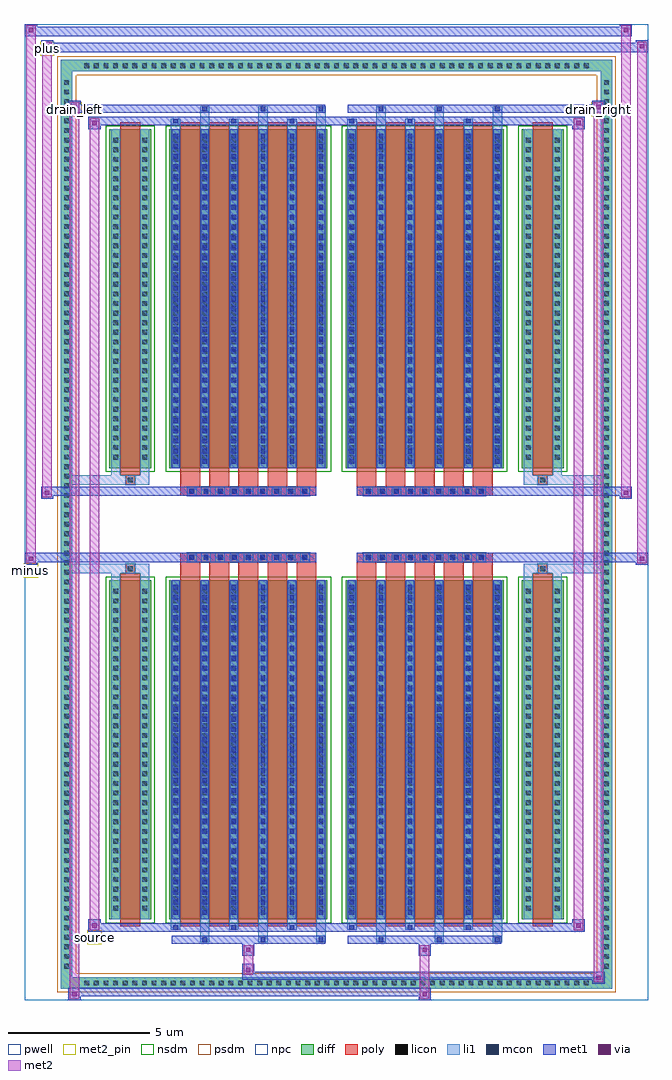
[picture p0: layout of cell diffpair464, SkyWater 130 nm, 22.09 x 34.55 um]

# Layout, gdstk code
import gdstk
lib = gdstk.Library(unit=1e-6, precision=5e-09)
def R(c, l, rs):  # rectangles x0, y0, x1, y1
    for r in rs: c.add(gdstk.rectangle(r[:2], r[2:], *l))
def A(c, l, x, y, w, h, nx, ny, dx, dy):  # array of equal rectangles
    R(c, l, [(x+i*dx, y+j*dy, x+i*dx+w, y+j*dy+h) for i in range(nx) for j in range(ny)])
def P(c, l, *ps):  # polygons
    for p in ps: c.add(gdstk.Polygon(p, *l))
pwell = (64, 44)
diff = (65, 20)
poly = (66, 20)
licon = (66, 44)
li1 = (67, 20)
mcon = (67, 44)
met1 = (68, 20)
via = (68, 44)
met2_pin = (69, 16)
met2 = (69, 20)
nsdm = (93, 44)
psdm = (94, 20)
npc = (95, 20)

diffpair464 = lib.new_cell('diffpair464')
R(diffpair464, pwell, [(-11.03,-16.84,11.03,17.71), (-8.35,-15.03,-0.01,-0.805), (0.01,-15.03,8.35,-0.805), (-8.35,0.805,-0.01,15.03), (0.01,0.805,8.35,15.03)])
A(diffpair464, diff, -9.045, -16.44, 0.41, 0.41, 53, 2, 0.34, 32.47)
A(diffpair464, diff, -9.76, -15.845, 0.41, 0.41, 1, 93, 0, 0.34)
A(diffpair464, diff, 9.35, -15.845, 0.41, 0.41, 1, 93, 0, 0.34)
R(diffpair464, diff, [(-9.045,-16.44,9.045,-16.03), (-9.76,-15.845,-9.35,15.845), (9.35,-15.845,9.76,15.845), (-8.04,-13.985,-6.56,-1.985), (-5.92,-13.985,-0.32,-1.985), (0.32,-13.985,5.92,-1.985), (6.56,-13.985,8.04,-1.985), (-8.04,1.985,-6.56,13.985), (-5.92,1.985,-0.32,13.985), (0.32,1.985,5.92,13.985), (6.56,1.985,8.04,13.985), (-9.045,16.03,9.045,16.44)])
P(diffpair464, diff, [(9.76,16.44),(-9.76,16.44),(-9.76,-16.03),(-9.35,-16.03),(-9.35,16.03),(9.35,16.03),(9.35,-16.03),(-9.35,-16.03),(-9.76,-16.03),(-9.76,-16.44),(9.76,-16.44)])
A(diffpair464, poly, -5.53, -14.235, 0.7, 12.5, 5, 2, 1.03, 15.97)
A(diffpair464, poly, 0.71, -14.235, 0.7, 12.5, 5, 2, 1.03, 15.97)
A(diffpair464, poly, -5.53, -1.735, 0.7, 0.4, 5, 2, 1.03, 3.07)
A(diffpair464, poly, 0.71, -1.735, 0.7, 0.4, 5, 2, 1.03, 3.07)
A(diffpair464, poly, -5.285, -1.335, 0.33, 0.33, 9, 2, 0.5, 2.34)
A(diffpair464, poly, 0.955, -1.335, 0.33, 0.33, 9, 2, 0.5, 2.34)
R(diffpair464, poly, [(-7.65,-14.235,-6.95,-1.735), (6.95,-14.235,7.65,-1.735), (-7.465,-1.735,-7.135,-1.405), (-7.465,-1.735,-7.135,-1.405), (7.135,-1.735,7.465,-1.405), (7.135,-1.735,7.465,-1.405), (-5.53,-1.335,-0.71,-1.005), (0.71,-1.335,5.53,-1.005), (-5.53,1.005,-0.71,1.335), (0.71,1.005,5.53,1.335), (-7.465,1.405,-7.135,1.735), (-7.465,1.405,-7.135,1.735), (7.135,1.405,7.465,1.735), (7.135,1.405,7.465,1.735), (-7.65,1.735,-6.95,14.235), (6.95,1.735,7.65,14.235)])
A(diffpair464, licon, -8.925, -16.32, 0.17, 0.17, 53, 2, 0.34, 32.47)
A(diffpair464, licon, -9.64, -15.725, 0.17, 0.17, 1, 93, 0, 0.34)
A(diffpair464, licon, 9.47, -15.725, 0.17, 0.17, 1, 93, 0, 0.34)
A(diffpair464, licon, -7.9, -13.68, 0.17, 0.17, 1, 34, 0, 0.34)
A(diffpair464, licon, -6.87, -13.68, 0.17, 0.17, 1, 34, 0, 0.34)
A(diffpair464, licon, -5.78, -13.68, 0.17, 0.17, 6, 34, 1.03, 0.34)
A(diffpair464, licon, 0.46, -13.68, 0.17, 0.17, 6, 34, 1.03, 0.34)
A(diffpair464, licon, 6.7, -13.68, 0.17, 0.17, 1, 34, 0, 0.34)
A(diffpair464, licon, 7.73, -13.68, 0.17, 0.17, 1, 34, 0, 0.34)
A(diffpair464, licon, -5.205, -1.255, 0.17, 0.17, 9, 2, 0.5, 2.34)
A(diffpair464, licon, 1.035, -1.255, 0.17, 0.17, 9, 2, 0.5, 2.34)
A(diffpair464, licon, -7.9, 2.29, 0.17, 0.17, 1, 34, 0, 0.34)
A(diffpair464, licon, -6.87, 2.29, 0.17, 0.17, 1, 34, 0, 0.34)
A(diffpair464, licon, -5.78, 2.29, 0.17, 0.17, 6, 34, 1.03, 0.34)
A(diffpair464, licon, 0.46, 2.29, 0.17, 0.17, 6, 34, 1.03, 0.34)
A(diffpair464, licon, 6.7, 2.29, 0.17, 0.17, 1, 34, 0, 0.34)
A(diffpair464, licon, 7.73, 2.29, 0.17, 0.17, 1, 34, 0, 0.34)
R(diffpair464, licon, [(-7.385,-1.655,-7.215,-1.485), (7.215,-1.655,7.385,-1.485), (-7.385,1.485,-7.215,1.655), (7.215,1.485,7.385,1.655)])
A(diffpair464, li1, -9.005, -16.4, 0.33, 0.33, 53, 2, 0.34, 32.47)
A(diffpair464, li1, -9.72, -15.805, 0.33, 0.33, 1, 93, 0, 0.34)
A(diffpair464, li1, 9.39, -15.805, 0.33, 0.33, 1, 93, 0, 0.34)
A(diffpair464, li1, -4.83, -14.79, 0.33, 0.805, 3, 2, 2.06, 28.775)
A(diffpair464, li1, -4.75, -14.79, 0.17, 0.17, 3, 2, 2.06, 29.41)
A(diffpair464, li1, 1.41, -14.79, 0.33, 0.805, 3, 2, 2.06, 28.775)
A(diffpair464, li1, 1.49, -14.79, 0.17, 0.17, 3, 2, 2.06, 29.41)
A(diffpair464, li1, -5.86, -14.36, 0.33, 0.375, 3, 2, 2.06, 28.345)
A(diffpair464, li1, -5.78, -14.36, 0.17, 0.17, 3, 2, 2.06, 28.55)
A(diffpair464, li1, 0.38, -14.36, 0.33, 0.375, 3, 2, 2.06, 28.345)
A(diffpair464, li1, 0.46, -14.36, 0.17, 0.17, 3, 2, 2.06, 28.55)
A(diffpair464, li1, -5.86, -13.985, 0.33, 12, 6, 2, 1.03, 15.97)
A(diffpair464, li1, 0.38, -13.985, 0.33, 12, 6, 2, 1.03, 15.97)
A(diffpair464, li1, -5.78, -13.83, 0.17, 0.17, 6, 33, 1.03, 0.36)
A(diffpair464, li1, -5.78, -13.83, 0.17, 11.69, 6, 2, 1.03, 15.97)
A(diffpair464, li1, 0.46, -13.83, 0.17, 0.17, 6, 33, 1.03, 0.36)
A(diffpair464, li1, 0.46, -13.83, 0.17, 11.69, 6, 2, 1.03, 15.97)
A(diffpair464, li1, -7.98, -13.76, 0.33, 0.33, 1, 34, 0, 0.34)
A(diffpair464, li1, -6.95, -13.76, 0.33, 0.33, 1, 34, 0, 0.34)
A(diffpair464, li1, -5.86, -13.76, 0.33, 0.33, 6, 34, 1.03, 0.34)
A(diffpair464, li1, 0.38, -13.76, 0.33, 0.33, 6, 34, 1.03, 0.34)
A(diffpair464, li1, 6.62, -13.76, 0.33, 0.33, 1, 34, 0, 0.34)
A(diffpair464, li1, 7.65, -13.76, 0.33, 0.33, 1, 34, 0, 0.34)
A(diffpair464, li1, -5.285, -1.335, 0.33, 0.33, 9, 2, 0.5, 2.34)
A(diffpair464, li1, 0.955, -1.335, 0.33, 0.33, 9, 2, 0.5, 2.34)
A(diffpair464, li1, -5.78, 2.14, 0.17, 0.17, 6, 33, 1.03, 0.36)
A(diffpair464, li1, 0.46, 2.14, 0.17, 0.17, 6, 33, 1.03, 0.36)
A(diffpair464, li1, -7.98, 2.21, 0.33, 0.33, 1, 34, 0, 0.34)
A(diffpair464, li1, -6.95, 2.21, 0.33, 0.33, 1, 34, 0, 0.34)
A(diffpair464, li1, -5.86, 2.21, 0.33, 0.33, 6, 34, 1.03, 0.34)
A(diffpair464, li1, 0.38, 2.21, 0.33, 0.33, 6, 34, 1.03, 0.34)
A(diffpair464, li1, 6.62, 2.21, 0.33, 0.33, 1, 34, 0, 0.34)
A(diffpair464, li1, 7.65, 2.21, 0.33, 0.33, 1, 34, 0, 0.34)
R(diffpair464, li1, [(-9.76,-16.44,-9.35,-16.03), (-9.76,-16.44,-9.35,-16.03), (-9.35,-16.44,9.35,-16.03), (9.35,-16.44,9.76,-16.03), (9.35,-16.44,9.76,-16.03), (-9.76,-16.03,-9.35,16.03), (9.35,-16.03,9.76,16.03), (-7.98,-13.985,-7.65,-1.985), (-6.95,-13.985,-6.62,-1.985), (6.62,-13.985,6.95,-1.985), (7.65,-13.985,7.98,-1.985), (-7.98,-1.985,-7.65,-1.405), (-6.95,-1.985,-6.62,-1.405), (6.62,-1.985,6.95,-1.405), (7.65,-1.985,7.98,-1.405), (-9.76,-1.735,-7.465,-1.405), (-7.98,-1.735,-7.465,-1.405), (-7.465,-1.735,-7.135,-1.405), (-7.135,-1.735,-6.62,-1.405), (6.62,-1.735,7.135,-1.405), (7.135,-1.735,7.465,-1.405), (7.135,-1.735,9.76,-1.405), (7.465,-1.735,7.98,-1.405), (-9.76,1.405,-7.465,1.735), (-7.98,1.405,-7.465,1.735), (-7.98,1.405,-7.65,1.985), (-7.465,1.405,-7.135,1.735), (-7.135,1.405,-6.62,1.735), (-6.95,1.405,-6.62,1.985), (6.62,1.405,7.135,1.735), (6.62,1.405,6.95,1.985), (7.135,1.405,7.465,1.735), (7.135,1.405,9.76,1.735), (7.465,1.405,7.98,1.735), (7.65,1.405,7.98,1.985), (-7.98,1.985,-7.65,13.985), (-6.95,1.985,-6.62,13.985), (6.62,1.985,6.95,13.985), (7.65,1.985,7.98,13.985), (-9.76,16.03,-9.35,16.44), (-9.76,16.03,-9.35,16.44), (-9.35,16.03,9.35,16.44), (9.35,16.03,9.76,16.44), (9.35,16.03,9.76,16.44)])
A(diffpair464, mcon, -4.75, -14.79, 0.17, 0.17, 3, 2, 2.06, 29.41)
A(diffpair464, mcon, 1.49, -14.79, 0.17, 0.17, 3, 2, 2.06, 29.41)
A(diffpair464, mcon, -5.78, -14.36, 0.17, 0.17, 3, 2, 2.06, 28.55)
A(diffpair464, mcon, 0.46, -14.36, 0.17, 0.17, 3, 2, 2.06, 28.55)
A(diffpair464, mcon, -5.78, -13.83, 0.17, 0.17, 6, 33, 1.03, 0.36)
A(diffpair464, mcon, 0.46, -13.83, 0.17, 0.17, 6, 33, 1.03, 0.36)
A(diffpair464, mcon, -5.205, -1.255, 0.17, 0.17, 9, 2, 0.5, 2.34)
A(diffpair464, mcon, 1.035, -1.255, 0.17, 0.17, 9, 2, 0.5, 2.34)
A(diffpair464, mcon, -5.78, 2.14, 0.17, 0.17, 6, 33, 1.03, 0.36)
A(diffpair464, mcon, 0.46, 2.14, 0.17, 0.17, 6, 33, 1.03, 0.36)
A(diffpair464, met1, -4.81, -14.85, 0.29, 0.29, 3, 2, 2.06, 29.41)
A(diffpair464, met1, 1.43, -14.85, 0.29, 0.29, 3, 2, 2.06, 29.41)
A(diffpair464, met1, -5.84, -14.42, 0.29, 0.29, 3, 2, 2.06, 28.55)
A(diffpair464, met1, 0.4, -14.42, 0.29, 0.29, 3, 2, 2.06, 28.55)
A(diffpair464, met1, -5.84, -13.985, 0.29, 12, 6, 2, 1.03, 15.97)
A(diffpair464, met1, 0.4, -13.985, 0.29, 12, 6, 2, 1.03, 15.97)
A(diffpair464, met1, -5.84, -13.89, 0.29, 0.29, 6, 33, 1.03, 0.36)
A(diffpair464, met1, 0.4, -13.89, 0.29, 0.29, 6, 33, 1.03, 0.36)
A(diffpair464, met1, -5.265, -1.315, 0.29, 0.29, 9, 2, 0.5, 2.34)
A(diffpair464, met1, 0.975, -1.315, 0.29, 0.29, 9, 2, 0.5, 2.34)
A(diffpair464, met1, -5.84, 2.08, 0.29, 0.29, 6, 33, 1.03, 0.36)
A(diffpair464, met1, 0.4, 2.08, 0.29, 0.29, 6, 33, 1.03, 0.36)
R(diffpair464, met1, [(-9.49,-16.84,-9.06,-16.41), (2.905,-16.84,3.335,-16.41), (-9.49,-16.7,3.335,-16.41), (9.06,-16.27,9.49,-15.84), (-3.335,-16.13,9.49,-15.84), (-3.335,-15.99,-2.905,-15.56), (-3.335,-15.28,-2.905,-14.85), (2.905,-15.28,3.335,-14.85), (-5.84,-14.85,-0.4,-14.56), (0.4,-14.85,5.84,-14.56), (-8.78,-14.42,-8.35,-13.99), (-8.78,-14.42,-5.84,-14.13), (-5.84,-14.42,-0.4,-14.13), (-0.4,-14.42,0.4,-14.13), (0.4,-14.42,5.84,-14.13), (5.84,-14.42,8.78,-14.13), (8.35,-14.42,8.78,-13.99), (-11.03,-1.435,-10.6,-1.005), (10.6,-1.435,11.03,-1.005), (-11.03,-1.335,-0.71,-1.005), (-5.53,-1.335,-0.71,-1.005), (0.71,-1.335,5.53,-1.005), (0.71,-1.335,11.03,-1.005), (-10.46,0.905,-10.03,1.335), (10.03,0.905,10.46,1.335), (-10.46,1.005,-5.53,1.335), (-5.53,1.005,-0.71,1.335), (0.71,1.005,5.53,1.335), (5.53,1.005,10.46,1.335), (-8.78,13.99,-8.35,14.42), (8.35,13.99,8.78,14.42), (-8.78,14.13,-5.84,14.42), (-5.84,14.13,-0.4,14.42), (-0.4,14.13,0.4,14.42), (0.4,14.13,5.84,14.42), (5.84,14.13,8.78,14.42), (-9.49,14.56,-9.06,14.99), (-9.49,14.56,-5.84,14.85), (-5.84,14.56,-0.4,14.85), (0.4,14.56,5.84,14.85), (5.84,14.56,9.49,14.85), (9.06,14.56,9.49,14.99), (-10.46,16.71,-10.03,17.14), (-10.46,16.71,-8.35,17.04), (-8.35,16.71,8.35,17.04), (8.35,16.71,11.03,17.04), (10.6,16.71,11.03,17.14), (-11.03,17.28,-10.6,17.71), (-11.03,17.28,-8.35,17.61), (-8.35,17.28,8.35,17.61), (8.35,17.28,10.46,17.61), (10.03,17.28,10.46,17.71)])
R(diffpair464, via, [(-9.35,-16.7,-9.2,-16.55), (3.045,-16.7,3.195,-16.55), (9.2,-16.13,9.35,-15.98), (-3.195,-15.85,-3.045,-15.7), (-3.195,-15.14,-3.045,-14.99), (3.045,-15.14,3.195,-14.99), (-8.64,-14.28,-8.49,-14.13), (8.49,-14.28,8.64,-14.13), (-10.89,-1.295,-10.74,-1.145), (10.74,-1.295,10.89,-1.145), (-10.32,1.045,-10.17,1.195), (10.17,1.045,10.32,1.195), (-8.64,14.13,-8.49,14.28), (8.49,14.13,8.64,14.28), (-9.35,14.7,-9.2,14.85), (9.2,14.7,9.35,14.85), (-10.32,16.85,-10.17,17), (10.74,16.85,10.89,17), (-10.89,17.42,-10.74,17.57), (10.17,17.42,10.32,17.57)])
R(diffpair464, met2_pin, [(-8.815,-14.87,-8.315,-14.37), (-11.065,-1.885,-10.565,-1.385), (-9.525,14.44,-9.025,14.94), (9.025,14.44,9.525,14.94), (-10.495,16.59,-9.995,17.09)])
R(diffpair464, met2, [(-9.44,-16.79,-9.11,-16.46), (-9.44,-16.79,-9.11,14.94), (2.955,-16.79,3.285,-16.46), (2.955,-16.46,3.285,-15.23), (9.11,-16.22,9.44,-15.89), (9.11,-16.22,9.44,14.94), (-3.285,-15.94,-2.955,-15.61), (-3.285,-15.61,-2.955,-15.23), (-3.285,-15.23,-2.955,-14.9), (2.955,-15.23,3.285,-14.9), (-8.73,-14.37,-8.4,-14.04), (-8.73,-14.37,-8.4,14.37), (8.4,-14.37,8.73,-14.04), (8.4,-14.37,8.73,14.37), (-10.98,-1.385,-10.65,-1.055), (-10.98,-1.385,-10.65,17.66), (10.65,-1.385,10.98,-1.055), (10.65,-1.385,10.98,17.09), (-10.41,0.955,-10.08,1.285), (-10.41,0.955,-10.08,17.09), (10.08,0.955,10.41,1.285), (10.08,0.955,10.41,17.66), (-8.73,14.04,-8.4,14.37), (8.4,14.04,8.73,14.37), (-9.44,14.61,-9.11,14.94), (9.11,14.61,9.44,14.94), (-10.41,16.76,-10.08,17.09), (10.65,16.76,10.98,17.09), (-10.98,17.33,-10.65,17.66), (10.08,17.33,10.41,17.66)])
P(diffpair464, met2, [(10.98,-1.385),(10.98,-1.385),(10.98,-1.055),(10.98,-1.055)],
  [(10.98,16.76),(10.98,16.76),(10.98,17.09),(10.98,17.09)],
  [(-10.65,-1.385),(-10.65,-1.385),(-10.65,-1.055),(-10.65,-1.055)],
  [(-10.65,17.33),(-10.65,17.33),(-10.65,17.66),(-10.65,17.66)],
  [(10.41,0.955),(10.41,0.955),(10.41,1.285),(10.41,1.285)],
  [(10.41,17.33),(10.41,17.33),(10.41,17.66),(10.41,17.66)],
  [(-10.08,0.955),(-10.08,0.955),(-10.08,1.285),(-10.08,1.285)],
  [(-10.08,16.76),(-10.08,16.76),(-10.08,17.09),(-10.08,17.09)],
  [(-9.11,-16.79),(-9.11,-16.79),(-9.11,-16.46),(-9.11,-16.46)],
  [(-9.11,14.61),(-9.11,14.61),(-9.11,14.94),(-9.11,14.94)],
  [(9.44,-16.22),(9.44,-16.22),(9.44,-15.89),(9.44,-15.89)],
  [(9.44,14.61),(9.44,14.61),(9.44,14.94),(9.44,14.94)],
  [(-8.4,-14.37),(-8.4,-14.37),(-8.4,-14.04),(-8.4,-14.04)],
  [(-8.4,14.04),(-8.4,14.04),(-8.4,14.37),(-8.4,14.37)],
  [(8.73,-14.37),(8.73,-14.37),(8.73,-14.04),(8.73,-14.04)],
  [(8.73,14.04),(8.73,14.04),(8.73,14.37),(8.73,14.37)])
R(diffpair464, nsdm, [(-8.17,-14.115,-6.43,-1.855), (-6.05,-14.115,-0.19,-1.855), (0.19,-14.115,6.05,-1.855), (6.43,-14.115,8.17,-1.855), (-8.17,1.855,-6.43,14.115), (-6.05,1.855,-0.19,14.115), (0.19,1.855,6.05,14.115), (6.43,1.855,8.17,14.115)])
P(diffpair464, psdm, [(9.89,16.57),(-9.89,16.57),(-9.89,-15.9),(-9.22,-15.9),(-9.22,15.9),(9.22,15.9),(9.22,-15.9),(-9.22,-15.9),(-9.89,-15.9),(-9.89,-16.57),(9.89,-16.57)])
A(diffpair464, npc, -5.305, -1.355, 0.37, 0.37, 9, 2, 0.5, 2.34)
A(diffpair464, npc, 0.935, -1.355, 0.37, 0.37, 9, 2, 0.5, 2.34)
R(diffpair464, npc, [(-7.485,-1.755,-7.115,-1.385), (7.115,-1.755,7.485,-1.385), (-5.305,-1.355,-4.435,-0.985), (-5.305,-1.355,-4.435,-0.985), (-4.805,-1.355,-3.935,-0.985), (-4.805,-1.355,-3.935,-0.985), (-4.305,-1.355,-3.435,-0.985), (-4.305,-1.355,-3.435,-0.985), (-3.805,-1.355,-2.935,-0.985), (-3.805,-1.355,-2.935,-0.985), (-3.305,-1.355,-2.435,-0.985), (-3.305,-1.355,-2.435,-0.985), (-2.805,-1.355,-1.935,-0.985), (-2.805,-1.355,-1.935,-0.985), (-2.305,-1.355,-1.435,-0.985), (-2.305,-1.355,-1.435,-0.985), (-1.805,-1.355,-0.935,-0.985), (-1.805,-1.355,-0.935,-0.985), (0.935,-1.355,1.805,-0.985), (0.935,-1.355,1.805,-0.985), (1.435,-1.355,2.305,-0.985), (1.435,-1.355,2.305,-0.985), (1.935,-1.355,2.805,-0.985), (1.935,-1.355,2.805,-0.985), (2.435,-1.355,3.305,-0.985), (2.435,-1.355,3.305,-0.985), (2.935,-1.355,3.805,-0.985), (2.935,-1.355,3.805,-0.985), (3.435,-1.355,4.305,-0.985), (3.435,-1.355,4.305,-0.985), (3.935,-1.355,4.805,-0.985), (3.935,-1.355,4.805,-0.985), (4.435,-1.355,5.305,-0.985), (4.435,-1.355,5.305,-0.985), (-5.305,0.985,-4.435,1.355), (-5.305,0.985,-4.435,1.355), (-4.805,0.985,-3.935,1.355), (-4.805,0.985,-3.935,1.355), (-4.305,0.985,-3.435,1.355), (-4.305,0.985,-3.435,1.355), (-3.805,0.985,-2.935,1.355), (-3.805,0.985,-2.935,1.355), (-3.305,0.985,-2.435,1.355), (-3.305,0.985,-2.435,1.355), (-2.805,0.985,-1.935,1.355), (-2.805,0.985,-1.935,1.355), (-2.305,0.985,-1.435,1.355), (-2.305,0.985,-1.435,1.355), (-1.805,0.985,-0.935,1.355), (-1.805,0.985,-0.935,1.355), (0.935,0.985,1.805,1.355), (0.935,0.985,1.805,1.355), (1.435,0.985,2.305,1.355), (1.435,0.985,2.305,1.355), (1.935,0.985,2.805,1.355), (1.935,0.985,2.805,1.355), (2.435,0.985,3.305,1.355), (2.435,0.985,3.305,1.355), (2.935,0.985,3.805,1.355), (2.935,0.985,3.805,1.355), (3.435,0.985,4.305,1.355), (3.435,0.985,4.305,1.355), (3.935,0.985,4.805,1.355), (3.935,0.985,4.805,1.355), (4.435,0.985,5.305,1.355), (4.435,0.985,5.305,1.355), (-7.485,1.385,-7.115,1.755), (7.115,1.385,7.485,1.755)])
diffpair464.add(gdstk.Label('minus', (-10.815,-1.635), layer=69, texttype=5))
diffpair464.add(gdstk.Label('drain_right', (9.275,14.69), layer=69, texttype=5))
diffpair464.add(gdstk.Label('drain_left', (-9.275,14.69), layer=69, texttype=5))
diffpair464.add(gdstk.Label('source', (-8.565,-14.62), layer=69, texttype=5))
diffpair464.add(gdstk.Label('plus', (-10.245,16.84), layer=69, texttype=5))

lib.write_gds('diffpair464.gds')
